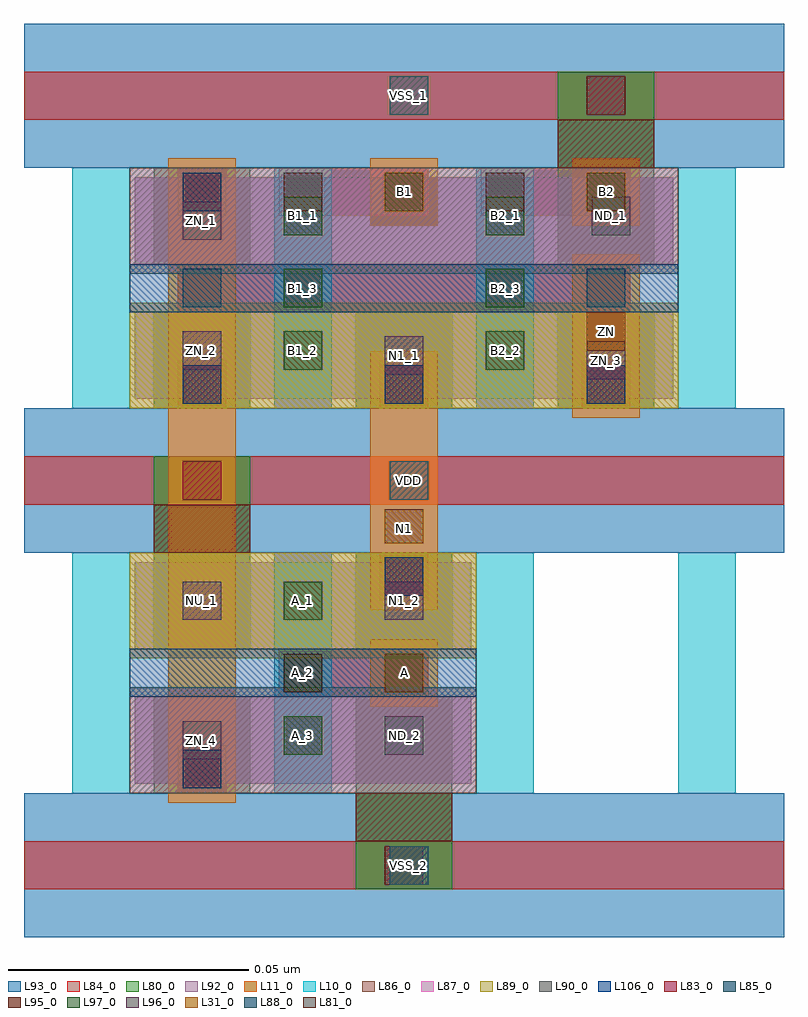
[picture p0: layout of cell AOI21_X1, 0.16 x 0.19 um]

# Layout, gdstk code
import gdstk
lib = gdstk.Library(unit=1e-6, precision=1e-09)
def R(c, l, rs):  # rectangles x0, y0, x1, y1
    for r in rs: c.add(gdstk.rectangle(r[:2], r[2:], *l))
def A(c, l, x, y, w, h, nx, ny, dx, dy):  # array of equal rectangles
    R(c, l, [(x+i*dx, y+j*dy, x+i*dx+w, y+j*dy+h) for i in range(nx) for j in range(ny)])
L10_0 = (10, 0)
L11_0 = (11, 0)
L31_0 = (31, 0)
L80_0 = (80, 0)
L81_0 = (81, 0)
L83_0 = (83, 0)
L84_0 = (84, 0)
L85_0 = (85, 0)
L86_0 = (86, 0)
L87_0 = (87, 0)
L88_0 = (88, 0)
L89_0 = (89, 0)
L90_0 = (90, 0)
L92_0 = (92, 0)
L93_0 = (93, 0)
L95_0 = (95, 0)
L96_0 = (96, 0)
L97_0 = (97, 0)
L106_0 = (106, 0)

aoi21_x1 = lib.new_cell('AOI21_X1')
A(aoi21_x1, L10_0, -0.027, -0.065, 0.012, 0.05, 4, 2, 0.042, 0.08)
A(aoi21_x1, L11_0, -0.007, -0.067, 0.014, 0.034, 1, 6, 0, 0.02)
R(aoi21_x1, L11_0, [(0.035,-0.047,0.049,-0.033), (0.035,-0.027,0.049,0.007), (0.035,-0.007,0.049,0.027), (0.077,0.013,0.091,0.047), (0.035,0.053,0.049,0.067), (0.077,0.053,0.091,0.067)])
R(aoi21_x1, L31_0, [(0.038,-0.044,0.046,-0.036), (0.038,-0.013,0.046,-0.006), (0.08,0.027,0.088,0.035), (0.038,0.056,0.046,0.064), (0.08,0.056,0.088,0.064)])
A(aoi21_x1, L80_0, -0.01, 0.015, 0.02, 0.02, 3, 1, 0.042, 0)
R(aoi21_x1, L80_0, [(0.032,-0.085,0.052,-0.064), (-0.01,-0.065,0.01,-0.045), (0.032,-0.065,0.052,-0.045), (-0.01,-0.035,0.01,-0.015), (-0.01,-0.035,0.01,-0.015), (0.032,-0.035,0.052,-0.015), (0.032,-0.035,0.052,-0.015), (-0.01,-0.024,0.01,0.005), (-0.01,0.045,0.01,0.065), (-0.01,0.045,0.01,0.065), (0.074,0.045,0.094,0.065), (0.074,0.045,0.094,0.065), (0.074,0.056,0.094,0.085)])
R(aoi21_x1, L81_0, [(0.017,-0.044,0.025,-0.036), (0.017,0.056,0.025,0.064), (0.059,0.056,0.067,0.064)])
A(aoi21_x1, L83_0, -0.004, -0.064, 0.008, 0.008, 1, 3, 0, 0.06)
A(aoi21_x1, L83_0, -0.004, 0.016, 0.008, 0.008, 3, 1, 0.042, 0)
R(aoi21_x1, L83_0, [(0.038,-0.084,0.046,-0.076), (0.038,-0.024,0.046,-0.016), (-0.004,0.056,0.004,0.064), (-0.004,0.056,0.004,0.064), (-0.004,0.056,0.004,0.064), (0.08,0.076,0.088,0.084)])
A(aoi21_x1, L84_0, -0.037, -0.085, 0.158, 0.01, 1, 3, 0, 0.08)
A(aoi21_x1, L84_0, -0.005, 0.015, 0.01, 0.01, 3, 1, 0.042, 0)
A(aoi21_x1, L84_0, -0.005, 0.035, 0.031, 0.01, 4, 1, 0.021, 0)
R(aoi21_x1, L84_0, [(-0.005,-0.065,0.005,-0.055), (0.016,-0.045,0.047,-0.035), (0.037,-0.025,0.047,-0.015), (-0.005,0.055,0.005,0.065), (0.016,0.055,0.047,0.065), (0.058,0.055,0.089,0.065)])
A(aoi21_x1, L85_0, -0.004, 0.016, 0.008, 0.008, 3, 2, 0.042, 0.04)
R(aoi21_x1, L85_0, [(-0.004,-0.064,0.004,-0.056), (0.038,-0.044,0.046,-0.036), (0.038,-0.024,0.046,-0.016), (-0.004,0.036,0.004,0.044), (0.08,0.036,0.088,0.044)])
R(aoi21_x1, L86_0, [(-0.015,-0.037,0.057,-0.015), (-0.015,0.015,0.099,0.037)])
R(aoi21_x1, L87_0, [(-0.015,-0.065,0.057,-0.043), (-0.015,0.043,0.099,0.065)])
A(aoi21_x1, L88_0, 0.039, -0.084, 0.008, 0.008, 1, 3, 0, 0.08)
R(aoi21_x1, L89_0, [(-0.015,-0.037,0.057,-0.015), (-0.015,0.015,0.099,0.037)])
R(aoi21_x1, L90_0, [(-0.015,-0.065,0.057,-0.043), (-0.015,0.043,0.099,0.065)])
R(aoi21_x1, L92_0, [(-0.014,-0.063,0.056,-0.045), (-0.014,-0.035,0.056,-0.017), (-0.014,0.017,0.098,0.035), (-0.014,0.045,0.098,0.063)])
A(aoi21_x1, L93_0, -0.037, -0.095, 0.158, 0.03, 1, 3, 0, 0.08)
R(aoi21_x1, L95_0, [(0.032,-0.075,0.052,-0.065), (-0.01,-0.015,0.01,-0.005), (0.074,0.065,0.094,0.075)])
R(aoi21_x1, L96_0, [(-0.004,-0.058,0.004,-0.05), (0.038,-0.057,0.046,-0.049), (-0.004,-0.029,0.004,-0.021), (0.038,-0.029,0.046,-0.021), (0.08,0.021,0.088,0.029), (0.038,0.022,0.046,0.03), (-0.004,0.023,0.004,0.031), (-0.004,0.05,0.004,0.058), (0.081,0.051,0.089,0.059)])
R(aoi21_x1, L97_0, [(0.017,-0.057,0.025,-0.049), (0.017,-0.044,0.025,-0.036), (0.017,-0.029,0.025,-0.021), (0.017,0.023,0.025,0.031), (0.059,0.023,0.067,0.031), (0.017,0.036,0.025,0.044), (0.059,0.036,0.067,0.044), (0.017,0.051,0.025,0.059), (0.059,0.051,0.067,0.059)])
R(aoi21_x1, L106_0, [(-0.015,-0.045,0.057,-0.035), (-0.015,0.035,0.099,0.045)])
aoi21_x1.add(gdstk.Label('VDD', (0.043,0), layer=88, texttype=0))
aoi21_x1.add(gdstk.Label('VSS_2', (0.043,-0.08), layer=88, texttype=0))
aoi21_x1.add(gdstk.Label('VSS_1', (0.043,0.08), layer=88, texttype=0))
aoi21_x1.add(gdstk.Label('A', (0.042,-0.04), layer=31, texttype=0))
aoi21_x1.add(gdstk.Label('N1', (0.042,-0.01), layer=31, texttype=0))
aoi21_x1.add(gdstk.Label('ZN', (0.084,0.031), layer=31, texttype=0))
aoi21_x1.add(gdstk.Label('B2', (0.084,0.06), layer=31, texttype=0))
aoi21_x1.add(gdstk.Label('B1', (0.042,0.06), layer=31, texttype=0))
aoi21_x1.add(gdstk.Label('A_3', (0.021,-0.053), layer=97, texttype=0))
aoi21_x1.add(gdstk.Label('A_2', (0.021,-0.04), layer=97, texttype=0))
aoi21_x1.add(gdstk.Label('A_1', (0.021,-0.025), layer=97, texttype=0))
aoi21_x1.add(gdstk.Label('B1_2', (0.021,0.027), layer=97, texttype=0))
aoi21_x1.add(gdstk.Label('B1_3', (0.021,0.04), layer=97, texttype=0))
aoi21_x1.add(gdstk.Label('B2_3', (0.063,0.04), layer=97, texttype=0))
aoi21_x1.add(gdstk.Label('B1_1', (0.021,0.055), layer=97, texttype=0))
aoi21_x1.add(gdstk.Label('B2_1', (0.063,0.055), layer=97, texttype=0))
aoi21_x1.add(gdstk.Label('B2_2', (0.063,0.027), layer=97, texttype=0))
aoi21_x1.add(gdstk.Label('ZN_1', (0,0.054), layer=96, texttype=0))
aoi21_x1.add(gdstk.Label('ZN_2', (0,0.027), layer=96, texttype=0))
aoi21_x1.add(gdstk.Label('ZN_3', (0.084,0.025), layer=96, texttype=0))
aoi21_x1.add(gdstk.Label('ZN_4', (0,-0.054), layer=96, texttype=0))
aoi21_x1.add(gdstk.Label('NU_1', (0,-0.025), layer=96, texttype=0))
aoi21_x1.add(gdstk.Label('ND_2', (0.042,-0.053), layer=96, texttype=0))
aoi21_x1.add(gdstk.Label('N1_1', (0.042,0.026), layer=96, texttype=0))
aoi21_x1.add(gdstk.Label('N1_2', (0.042,-0.025), layer=96, texttype=0))
aoi21_x1.add(gdstk.Label('ND_1', (0.085,0.055), layer=96, texttype=0))

lib.write_gds('AOI21_X1.gds')
